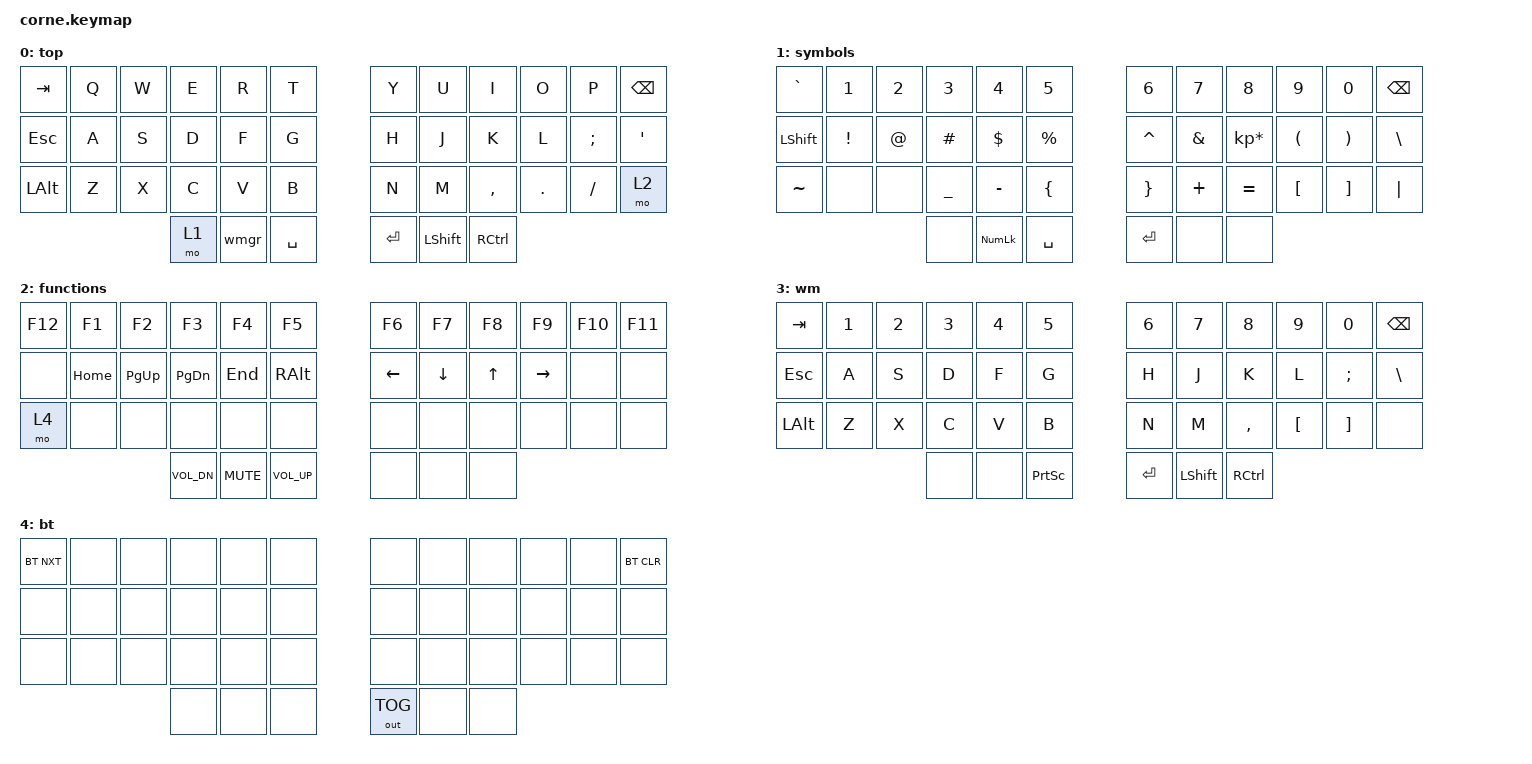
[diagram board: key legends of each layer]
/*
* vim: ft=c
* vim: tw=0
*/

#include <behaviors.dtsi>
#include <dt-bindings/zmk/keys.h>
#include <dt-bindings/zmk/bt.h>
#include <dt-bindings/zmk/ext_power.h>
#include <dt-bindings/zmk/outputs.h>
#include <dt-bindings/zmk/pointing.h>

/ {
    macros {
        wmgr: wmgr {
            compatible = "zmk,behavior-macro";
            #binding-cells = <0>;
            bindings
              = <&macro_press &mo 3 &kp LGUI>
              , <&macro_pause_for_release>
              , <&macro_release &mo 3 &kp LGUI>
                ;
        };
    };

};

/ {
  keymap {
    compatible = "zmk,keymap";

    top {
      bindings = <
      &kp TAB   &kp Q &kp W &kp E &kp R &kp T   &kp Y &kp U  &kp I     &kp O   &kp P    &kp BSPC
      &kp ESC   &kp A &kp S &kp D &kp F &kp G   &kp H &kp J  &kp K     &kp L   &kp SEMI &kp SQT
      &kp LALT  &kp Z &kp X &kp C &kp V &kp B   &kp N &kp M  &kp COMMA &kp DOT &kp FSLH &mo 2
                         &mo 1 &wmgr &kp SPACE   &kp RET &kp LSHIFT &kp RCTRL
      >;
    };

    symbols {
      bindings = <
      &kp GRAVE  &kp N1    &kp N2   &kp N3    &kp N4     &kp N5            &kp N6    &kp N7    &kp N8          &kp N9   &kp N0   &kp BSPC
      &kp LSHIFT &kp EXCL  &kp AT   &kp HASH  &kp DLLR   &kp PRCNT         &kp CARET &kp AMPS  &kp KP_MULTIPLY &kp LPAR &kp RPAR &kp BSLH
      &kp TILDE  &none     &none    &kp UNDER &kp MINUS  &kp LBRC          &kp RBRC  &kp PLUS  &kp EQUAL       &kp LBKT &kp RBKT &kp PIPE
                                    &none     &kp KP_NUM &kp SPACE         &kp RET   &none     &none
      >;
    };

    functions {
      bindings = <
      &kp F12       &kp F1   &kp F2          &kp F3           &kp F4       &kp F5              &kp F6       &kp F7      &kp F8     &kp F9    &kp F10  &kp F11
      &none         &kp HOME &kp PAGE_UP    &kp PAGE_DOWN     &kp END      &kp RALT            &kp LEFT     &kp DOWN    &kp UP     &kp RIGHT &none    &none
      &mo 4         &none    &none           &none            &none        &none               &none        &none       &none      &none     &none    &none
                                             &kp C_VOL_DN     &kp C_MUTE   &kp C_VOL_UP        &none        &none       &none               
      >;
    };

    wm {
      bindings = <
        &kp TAB    &kp N1 &kp N2 &kp N3 &kp N4 &kp N5     &kp N6  &kp N7     &kp N8    &kp N9   &kp N0   &kp BSPC
        &kp ESC    &kp A  &kp S  &kp D  &kp F  &kp G      &kp H   &kp J      &kp K     &kp L    &kp SEMI &kp BSLH
        &kp LALT   &kp Z  &kp X  &kp C  &kp V  &kp B      &kp N   &kp M      &kp COMMA &kp LBKT &kp RBKT &none    
                                 &none  &none  &kp PSCRN  &kp RET &kp LSHIFT &kp RCTRL
      >;
    };

    bt {
      bindings = <
        &bt BT_NXT &none  &none  &none  &none  &none      &none   &none &none &none &none &bt BT_CLR
        &none      &none  &none  &none  &none  &none      &none   &none &none &none &none &none
        &none      &none  &none  &none  &none  &none      &none   &none &none &none &none &none    
                                 &none  &none  &none      &out OUT_TOG   &none &none
      >;
    };
  };
};
